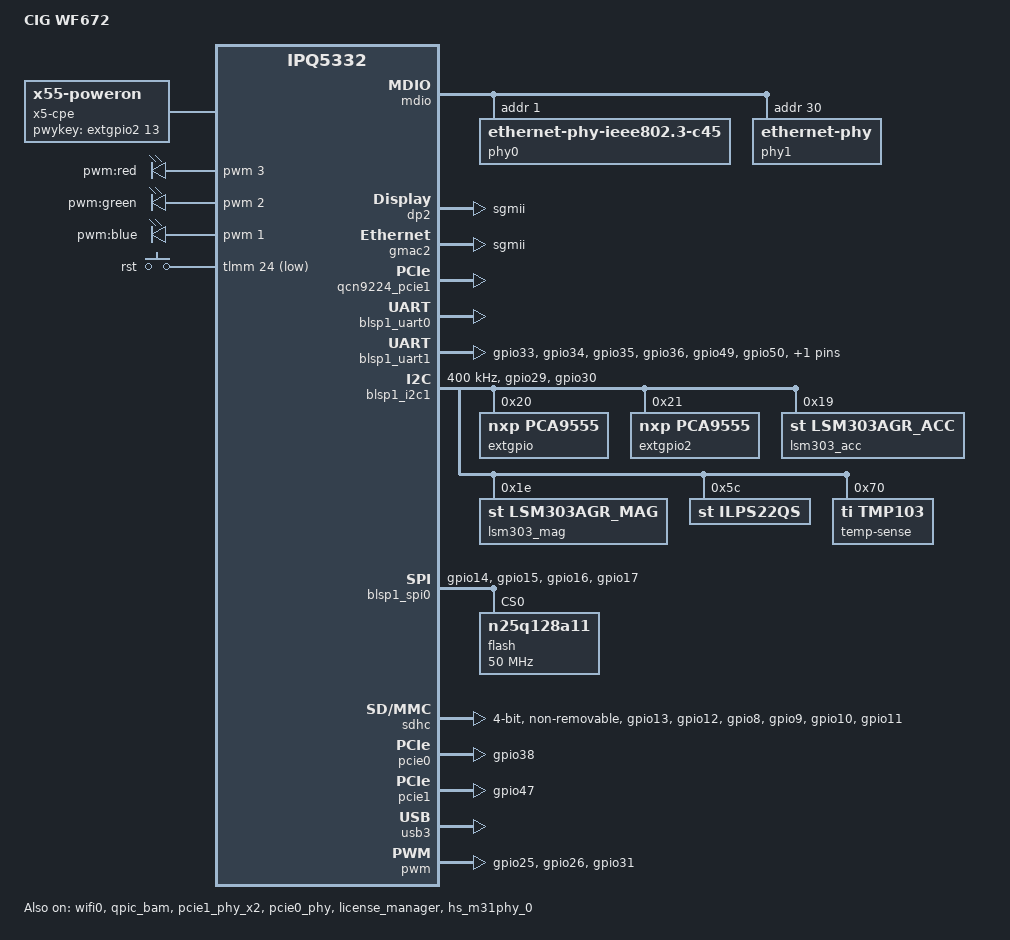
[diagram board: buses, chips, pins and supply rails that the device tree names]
// SPDX-License-Identifier: (GPL-2.0+ OR BSD-3-Clause)
/*
 * IPQ5332 RDP468 board device tree source
 *
 * Copyright (c) 2020-2021 The Linux Foundation. All rights reserved.
 * Copyright (c) 2022-2024 Qualcomm Innovation Center, Inc. All rights reserved.
 */

/dts-v1/;

#include <dt-bindings/gpio/gpio.h>
#include <dt-bindings/input/input.h>
#include <dt-bindings/leds/common.h>
#include "ipq5332.dtsi"
#include "ipq5332-default-memory.dtsi"

/ {
	model = "CIG WF672";
	compatible = "cig,wf672", "qcom,ipq5332-rdp468", "qcom,ipq5332";

	aliases {
		serial0 = &blsp1_uart0;
		serial1 = &blsp1_uart1;
		ethernet0 = "/soc/dp1";
		ethernet1 = "/soc/dp2";
		led-boot = &led_power_green;
		led-failsafe = &led_power_red;
		led-running = &led_power_green;
		led-upgrade = &led_power_green;
	};

	chosen {
		stdout-path = "serial0";
	};

	soc@0 {
		mdio:mdio@90000 {
			pinctrl-0 = <&mdio1_pins>;
			pinctrl-names = "default";
			/*gpio51 for manhattan reset*/
			phy-reset-gpio = <&tlmm 21 GPIO_ACTIVE_LOW>;
			phyaddr_fixup = <0xC90F018>;
			uniphyaddr_fixup = <0xC90F014>;
			mdio_clk_fixup; /* MDIO clock sequence fix up flag */
			status = "okay";

			phy0: ethernet-phy@0 {
				reg = <1>;
				compatible ="ethernet-phy-ieee802.3-c45";
				fixup;
			};
			phy1: ethernet-phy@1 {
				reg = <30>;
				fixup;
			};
		};

		ess-instance {
			num_devices = <0x1>;

			ess-switch@3a000000 {
				switch_cpu_bmp = <0x1>;  /* cpu port bitmap */
				switch_lan_bmp = <0x2>; /* lan port bitmap */
				switch_wan_bmp = <0x4>; /* wan port bitmap */
				switch_mac_mode = <0xc>; /* mac mode for uniphy instance0*/
				switch_mac_mode1 = <0xe>; /* mac mode for uniphy instance1*/
				switch_mac_mode2 = <0xff>; /* mac mode for uniphy instance2*/

				qcom,port_phyinfo {
					port@0 {
						port_id = <1>;
						phy_address = <1>;
						ethernet-phy-ieee802.3-c45;
						forced-speed = <2500>;
						forced-duplex = <1>;
						mdiobus = <&mdio>;
					};
					port@1 {
						port_id = <2>;
						phy_address = <30>;
						phy_i2c_address =<30>;
						phy-i2c-mode;
						sfp_rx_los_pin = <&tlmm 43 0>;
						sfp_mod_present_pin = <&tlmm 45 0>;
						sfp_tx_dis_pin = <&extgpio 11 0>;
						media-type = "sfp"; /* fiber mode */
					};
				};

			};

		};

		dp2 {
			device_type = "network";
			compatible = "qcom,nss-dp";
			qcom,id = <1>;
			reg = <0x3a500000 0x4000>;
			qcom,mactype = <1>;
			local-mac-address = [000000000000];
			mdio-bus = <&mdio>;
			qcom,phy-mdio-addr = <1>;
			qcom,link-poll = <1>;
			phy-mode = "sgmii";
		};

		gmac2:dp1 {
			device_type = "network";
			compatible = "qcom,nss-dp";
			qcom,id = <2>;
			reg = <0x3a504000 0x4000>;
			qcom,mactype = <1>;
			local-mac-address = [000000000000];
			qcom,phy-mdio-addr = <30>;
			qcom,link-poll = <1>;
			phy-mode = "sgmii";
		};

		x5-cpe {
			compatible = "x55-poweron";
			pwykey = <&extgpio2 13 0>;
			status = "ok";
		};

		/* EDMA host driver configuration for the board */
		edma@3ab00000 {
			qcom,txdesc-ring-start = <4>;		/* Tx desc ring start ID */
			qcom,txdesc-rings = <12>;		/* Total number of Tx desc rings to be provisioned */
			qcom,mht-txdesc-rings = <8>;            /* Extra Tx desc rings to be provisioned for MHT SW ports */
			qcom,txcmpl-ring-start = <4>;		/* Tx complete ring start ID */
			qcom,txcmpl-rings = <12>;		/* Total number of Tx complete rings to be provisioned */
			qcom,mht-txcmpl-rings = <8>;            /* Extra Tx complete rings to be provisioned for mht sw ports. */
			qcom,rxfill-ring-start = <4>;		/* Rx fill ring start ID */
			qcom,rxfill-rings = <4>;		/* Total number of Rx fill rings to be provisioned */
			qcom,rxdesc-ring-start = <12>;		/* Rx desc ring start ID */
			qcom,rxdesc-rings = <4>;		/* Total number of Rx desc rings to be provisioned */
			qcom,rx-page-mode = <0>;		/* Rx fill ring page mode */
			qcom,tx-map-priority-level = <1>;	/* Tx priority level per port */
			qcom,rx-map-priority-level = <1>;	/* Rx priority level per core */
			qcom,ppeds-num = <2>;			/* Number of PPEDS nodes */
			/* PPE-DS node format: <Rx-fill Tx-cmpl Rx Tx Queue-base Queue-count> */
			qcom,ppeds-map = <1 1 1 1 32 8>,	/* PPEDS Node#0 ring and queue map */
					<2 2 2 2 40 8>;		/* PPEDS Node#1 ring and queue map */
			qcom,txdesc-map = <8 9 10 11>,		/* Port0 per-core Tx ring map */
					<12 13 14 15>,        /* MHT-Port1 per-core Tx ring map */
					<4 5 6 7>,            /* MHT-Port2 per-core Tx ring map/packets from  vp*/
					<16 17 18 19>,        /* MHT-Port3 per-core Tx ring map */
					<20 21 22 23>;        /* MHT-Port4 per-core Tx ring map */
			qcom,txdesc-fc-grp-map = <1 2 3 4 5>;   /* Per GMAC flow control group map */
			qcom,rxfill-map = <4 5 6 7>;		/* Per-core Rx fill ring map */
			qcom,rxdesc-map = <12 13 14 15>;	/* Per-core Rx desc ring map */
			qcom,rx-queue-start = <0>;		/* Rx queue start */
			qcom,rx-ring-queue-map = <0 8 16 24>,	/* Priority 0 queues per-core Rx ring map */
						<1 9 17 25>,	/* Priority 1 queues per-core Rx ring map */
						<2 10 18 26>,	/* Priority 2 queues per-core Rx ring map */
						<3 11 19 27>,	/* Priority 3 queues per-core Rx ring map */
						<4 12 20 28>,	/* Priority 4 queues per-core Rx ring map */
						<5 13 21 29>,	/* Priority 5 queues per-core Rx ring map */
						<6 14 22 30>,	/* Priority 6 queues per-core Rx ring map */
						<7 15 23 31>;	/* Priority 7 queues per-core Rx ring map */
			interrupts = <0 163 4>,			/* Tx complete ring id #4 IRQ info */
				   <0 164 4>,			/* Tx complete ring id #5 IRQ info */
				   <0 165 4>,			/* Tx complete ring id #6 IRQ info */
				   <0 166 4>,			/* Tx complete ring id #7 IRQ info */
				   <0 167 4>,			/* Tx complete ring id #8 IRQ info */
				   <0 168 4>,			/* Tx complete ring id #9 IRQ info */
				   <0 169 4>,			/* Tx complete ring id #10 IRQ info */
				   <0 170 4>,			/* Tx complete ring id #11 IRQ info */
				   <0 171 4>,			/* Tx complete ring id #12 IRQ info */
				   <0 172 4>,			/* Tx complete ring id #13 IRQ info */
				   <0 173 4>,			/* Tx complete ring id #14 IRQ info */
				   <0 174 4>,			/* Tx complete ring id #15 IRQ info */
				   <0 139 4>,			/* Rx desc ring id #12 IRQ info */
				   <0 140 4>,			/* Rx desc ring id #13 IRQ info */
				   <0 141 4>,			/* Rx desc ring id #14 IRQ info */
				   <0 142 4>,			/* Rx desc ring id #15 IRQ info */
				   <0 191 4>,			/* Misc error IRQ info */
				<0 160 4>,			/* PPEDS Node #1(TxComp ring id #1) TxComplete IRQ info */
				<0 128 4>,			/* PPEDS Node #1(Rx Desc ring id #1) Rx Desc IRQ info */
				<0 152 4>,			/* PPEDS Node #1(RxFill Desc ring id #1) Rx Fill IRQ info */
				<0 161 4>,			/* PPEDS Node #2(TxComp ring id #2) TxComplete IRQ info */
				<0 129 4>,			/* PPEDS Node #2(Rx Desc ring id #2) Rx Desc IRQ info */
				<0 153 4>,                      /* PPEDS Node #2(RxFill Desc ring id #2) Rx Fill IRQ info */
				<0 175 4>,                   /* MHT port Tx complete ring id #16 IRQ info */
				<0 176 4>,                   /* MHT port Tx complete ring id #17 IRQ info */
				<0 177 4>,                   /* MHT port Tx complete ring id #18 IRQ info */
				<0 178 4>,                   /* MHT port Tx complete ring id #19 IRQ info */
				<0 179 4>,                   /* MHT port Tx complete ring id #20 IRQ info */
				<0 180 4>,                   /* MHT port Tx complete ring id #21 IRQ info */
				<0 181 4>,                   /* MHT port Tx complete ring id #22 IRQ info */
				<0 182 4>;                   /* MHT port Tx complete ring id #23 IRQ info */
		};

		pwmleds {
			compatible = "pwm-leds";

			led_power_red:red {
				label = "pwm:red";
				pwms = <&pwm 3 1250000>;
				max-brightness = <160>;
				linux,default-trigger = "none";
				default-state = "off";
			};

			led_power_green:green {
				label = "pwm:green";
				pwms = <&pwm 2 1250000>;
				max-brightness = <160>;
				linux,default-trigger = "none";
				default-state = "off";
			};

			led_power_blue: blue {
				label = "pwm:blue";
				pwms = <&pwm 1 1250000>;
				max-brightness = <160>;
				linux,default-trigger = "none";
				default-state = "off";
			};
		};

		gpio_keys {
			compatible = "gpio-keys";
			pinctrl-0 = <&button_pins>;
			pinctrl-names = "default";
			status = "okay";

			button@1 {
				label = "rst";
				linux,code = <KEY_RESTART>;
				gpios = <&tlmm 24 GPIO_ACTIVE_LOW>;
				linux,input-type = <1>;
				debounce-interval = <60>;
			};
		};

		wsi: wsi {
			id = <0>;
			num_chip = <2>;
			status = "okay";
			chip_info = <0 1 1>,
				    <1 1 0>;
		};
	};
};

&wifi0 {
	led-gpio = <&tlmm 36 GPIO_ACTIVE_HIGH>;
	qcom,rproc = <&q6_wcss_pd1>;
	qcom,rproc_rpd = <&q6v5_wcss>;
	qcom,multipd_arch;
	qcom,userpd-subsys-name = "q6v5_wcss_userpd1";
	memory-region = <&q6_region>;
	qcom,wsi = <&wsi>;
	qcom,wsi_index = <0>;
	qcom,board_id = <0x12>;
	status = "okay";
};

&qcn9224_pcie1 {
	status = "okay";
};

&blsp1_uart0 {
	pinctrl-0 = <&serial_0_pins>;
	pinctrl-names = "default";
	status = "okay";
};

&blsp1_uart1 {
	pinctrl-0 = <&serial_1_pins &pta_slic>;
	pinctrl-names = "default";
	status = "okay";
};

&blsp1_i2c1 {
	status = "okay";
	clock-frequency  = <400000>;
	pinctrl-0 = <&i2c_1_pins>;
	pinctrl-names = "default";
	extgpio:pca9555@20{
		compatible = "nxp,pca9555";
		reg = <0x20>;
		pinctrl-names = "default";
		gpio-controller;
		#gpio-cells = <2>;
		status = "okay";

	};
	extgpio2:pca9555@21{
		compatible = "nxp,pca9555";
		reg = <0x21>;
		pinctrl-names = "default";
		gpio-controller;
		#gpio-cells = <2>;
		status = "okay";
	};
	lsm303_acc@19{
		compatible = "st,lsm303agr_acc";
		reg = <0x19>;
	};
	lsm303_mag@1e{
		compatible = "st,lsm303agr_mag";
		reg = <0x1e>;
	};
	ilps22qs@5c{
		compatible = "st,ilps22qs";
		reg = <0x5c>;
	};
	temp-sense@70 {
		compatible = "ti,tmp103";
		reg = <0x70>;
	};
};

&blsp1_spi0 {
	pinctrl-0 = <&spi_0_data_clk_pins &spi_0_cs_pins>;
	pinctrl-names = "default";
	status = "okay";

	flash@0 {
		compatible = "n25q128a11", "micron,n25q128a11", "jedec,spi-nor";
		reg = <0>;
		#address-cells = <1>;
		#size-cells = <1>;
		spi-max-frequency = <50000000>;
	};
};

&blsp1_spi2 {
	pinctrl-0 = <&spi_2_pins>;
	pinctrl-names = "default";
	cs-select = <0>;
	status = "disabled";
};

&sdhc {
        bus-width = <4>;
        max-frequency = <192000000>;
        mmc-ddr-1_8v;
        mmc-hs200-1_8v;
        non-removable;
        pinctrl-0 = <&sdc_default_state>;
        reset = <&tlmm 20 0>;
        pinctrl-names = "default";
        status = "okay";
};

&sleep_clk {
	clock-frequency = <32000>;
};

&xo {
	clock-frequency = <24000000>;
};

&qpic_bam {
	status = "okay";
};

&pcie1_phy_x2 {
	status = "okay";
};

&pcie0_phy {
	status = "okay";
};

&pcie0 {
	pinctrl-0 = <&pcie0_default_state>;
	pinctrl-names = "default";
	perst-gpios = <&tlmm 38 GPIO_ACTIVE_LOW>;
	status = "okay";
};

&pcie1 {
	pinctrl-0 = <&pcie1_default_state>;
	pinctrl-names = "default";
	perst-gpios = <&tlmm 47 GPIO_ACTIVE_LOW>;
	status = "okay";

	pcie1_rp {
		reg = <0 0 0 0 0>;

		qcom,mhi@1 {
			reg = <0 0 0 0 0>;
			boot-args = <0x2 0x4 0x34 0x3 0x0 0x0     /* MX Rail, GPIO52, Drive strength 0x3 */
					0x4 0x4 0x18 0x3 0x0 0x0  /* RFA1p2 Rail, GPIO24, Drive strength 0x3 */
					0x0 0x4 0x0 0x0 0x0 0x0>; /* End of arguments */
			memory-region = <&qcn9224_pcie1>;
			qcom,wsi = <&wsi>;
			qcom,wsi_index = <1>;
			qcom,board_id = <0x1015>;
		};
	};
};

/* PINCTRL */

&tlmm {
	i2c_1_pins: i2c-1-state {
		pins = "gpio29", "gpio30";
		function = "blsp1_i2c0";
		drive-strength = <8>;
		bias-pull-up;
	};

	spi_2_pins: spi-2-pins {
		pins = "gpio33", "gpio34", "gpio35", "gpio36";
		function = "blsp2_spi0";
		drive-strength = <8>;
		bias-pull-down;
	};
	
	 pta_slic: pta_slic {
		pta1_0 {
			pins = "gpio49";
			function = "pta1_0";
			drive-strength = <8>;
			bias-disable;
		};
		pta1_1 {
			pins = "gpio50";
			function = "pta1_1";
                        drive-strength = <8>;
			bias-disable;
                };
		pta1_2 {
			pins = "gpio51";
			function = "pta1_2";
                        drive-strength = <8>;
			bias-disable;
                };
	};

	spi_0_data_clk_pins: spi-0-data-clk-state {
		pins = "gpio14", "gpio15", "gpio16";
		function = "blsp0_spi";
		drive-strength = <2>;
		bias-pull-down;
	};

	spi_0_cs_pins: spi-0-cs-state {
		pins = "gpio17";
		function = "blsp0_spi";
		drive-strength = <2>;
		bias-pull-up;
	};

	serial_1_pins: serial1-pinmux {
		pins = "gpio33", "gpio34", "gpio35", "gpio36";
		function = "blsp1_uart2";
		drive-strength = <8>;
		bias-pull-up;
	};

	button_pins: button-state {
		pins = "gpio24";
		function = "gpio";
		drive-strength = <8>;
		bias-pull-up;
	};

	pwm_pins: pwm-state {

		mux_1 {
			pins = "gpio25";
			function = "pwm2";
			drive-strength = <8>;
		};
		mux_2 {
			pins = "gpio26";
			function = "pwm2";
			drive-strength = <8>;
		};
		mux_3 {
			pins = "gpio31";
			function = "pwm1";
			drive-strength = <8>;
		};
	};

	sdc_default_state: sdc-default-state {
                clk-pins {
                        pins = "gpio13";
                        function = "sdc_clk";
                        drive-strength = <8>;
                        bias-disable;
                };

                cmd-pins {
                        pins = "gpio12";
                        function = "sdc_cmd";
                        drive-strength = <8>;
                        bias-pull-up;
                };

                data-pins {
                        pins = "gpio8", "gpio9", "gpio10", "gpio11";
                        function = "sdc_data";
                        drive-strength = <8>;
                        bias-pull-up;
                };
        };

	pcie0_default_state: pcie0-default-state {
		pins = "gpio38";
		function = "gpio";
		drive-strength = <8>;
		bias-pull-up;
		output-low;
	};

	pcie1_default_state: pcie1-default-state {
		pins = "gpio47";
		function = "gpio";
		drive-strength = <8>;
		bias-pull-up;
		output-low;
	};
};

&license_manager {
	status = "okay";
};

&usb3 {
	qcom,select-utmi-as-pipe-clk;
	status = "okay";
	dwc3@8a00000 {
                /delete-property/ #phy-cells;
                /delete-property/ phys;
                /delete-property/ phy-names;
        };
};

&pwm {
	pinctrl-0 = <&pwm_pins>;
	pinctrl-names = "default";
	dft-pwm-status = <0>, <0>, <1>, <0>;
        poe_type_pin = <&extgpio 0 0 &extgpio 1 0 &extgpio 2 0>;
	status = "okay";
};

&hs_m31phy_0 {
	status = "okay";
};

